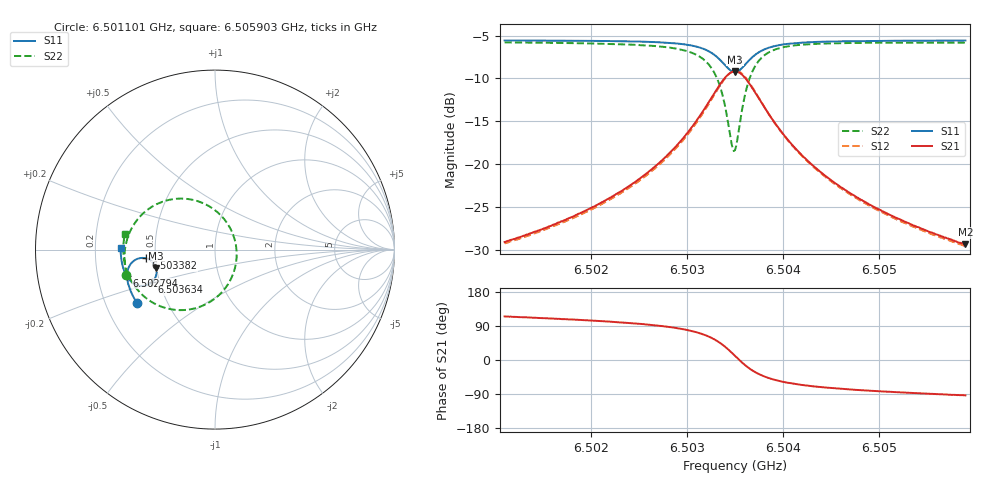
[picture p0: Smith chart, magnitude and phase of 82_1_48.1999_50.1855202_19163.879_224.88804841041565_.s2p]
#  HZ  S  RI  R  50.00
! Rohde & Schwarz Vector Network Analyzer
! Rohde-Schwarz,ZNB20-2Port,1311601062101988,3.16
! Created: UTC 3/20/2024, 11:39:43 AM
! freq[Hz]  re:S11  im:S11  re:S21  im:S21  re:S12  im:S12  re:S22  im:S22
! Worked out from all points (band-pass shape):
!   401 points, 6.501101 GHz to 6.505903 GHz, reference 50 ohm
!   highest |S21| = -9.18 dB at 6.503502 GHz (marker M1); lowest = -29.4 dB at 6.505903 GHz (marker M2)
!   |S21| within 3 dB of the highest: 6.503261 GHz to 6.503742 GHz (480.6 kHz wide, 0.00739 % of centre)
!   lowest |S11| = -9.3 dB at 6.503502 GHz (marker M3), VSWR 2.05, Z = 24.8 - j5.74 ohm
!   |S11| at or under -10 dB: nowhere
!   |S22| runs from -18.5 to -5.8 dB; largest |S21 - S12| = 0.012
!   S11 on the Smith chart (normalised r, x): 6.501101 GHz: 0.34, -0.28; 6.502794 GHz: 0.33, -0.13; 6.503382 GHz: 0.44, -0.05; 6.503634 GHz: 0.45, -0.20; 6.505903 GHz: 0.31, +0.01
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6.5011014e9  -0.4331 -0.2996  -0.0149 0.0318  -0.0131 0.0319  -0.4941 -0.1392
6.5019057e9  -0.4666 -0.2386  -0.014 0.0504  -0.0115 0.0499  -0.5046 -0.0507
6.5023378e9  -0.4814 -0.1993  -0.0107 0.0699  -0.00775 0.0688  -0.5 0.0131
6.5027099e9  -0.4894 -0.1567  -0.000857 0.1015  0.00285 0.0989  -0.4776 0.0913
6.5027939e9  -0.4899 -0.145  0.00417 0.1123  0.00772 0.1092  -0.4668 0.1144
6.502998e9  -0.4852 -0.111  0.0274 0.1475  0.031 0.143  -0.4182 0.1839
6.503142e9  -0.4704 -0.0808  0.066 0.1818  0.0686 0.1759  -0.3434 0.2434
6.5032861e9  -0.4314 -0.0512  0.15 0.2109  0.1506 0.2046  -0.1899 0.2843
6.5033341e9  -0.4096 -0.0465  0.1936 0.2092  0.1936 0.2035  -0.1132 0.2748
6.5033821e9  -0.3837 -0.0488  0.2437 0.1932  0.2438 0.1885  -0.0274 0.2384
6.5034661e9  -0.3398 -0.0791  0.3235 0.1161  0.3261 0.1119  0.1 0.0859
6.5035021e9  -0.3289 -0.102  0.3411 0.0658  0.3449 0.0603  0.1204 -0.0085
6.5035261e9  -0.3259 -0.1188  0.3445 0.0303  0.3486 0.0234  0.1173 -0.0739
6.5035621e9  -0.3283 -0.1435  0.3366 -0.0212  0.3402 -0.0303  0.0882 -0.1648
6.5036342e9  -0.3512 -0.1814  0.2881 -0.0988  0.2879 -0.1107  -0.0261 -0.2904
6.5037302e9  -0.393 -0.2015  0.2077 -0.1427  0.2027 -0.1531  -0.1896 -0.3373
6.5038862e9  -0.4432 -0.194  0.1176 -0.1415  0.1103 -0.1472  -0.3535 -0.2915
6.5040543e9  -0.4726 -0.1728  0.0689 -0.1199  0.0623 -0.1225  -0.4329 -0.2224
6.5043064e9  -0.4955 -0.1416  0.0352 -0.0925  0.0302 -0.093  -0.4813 -0.1435
6.5046545e9  -0.5108 -0.104  0.0161 -0.0685  0.0123 -0.0682  -0.504 -0.0692
6.5051106e9  -0.5207 -0.0609  0.00544 -0.0505  0.00298 -0.0499  -0.5108 -0.00114
6.5059028e9  -0.526 0.0069  -0.00201 -0.0339  -0.00332 -0.0331  -0.5036 0.0855
